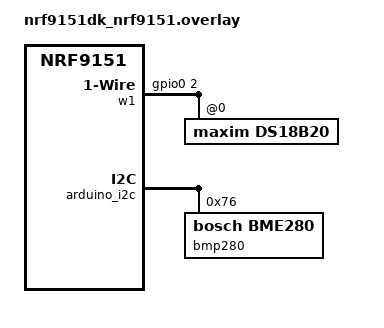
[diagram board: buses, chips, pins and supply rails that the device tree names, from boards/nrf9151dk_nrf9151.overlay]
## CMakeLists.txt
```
cmake_minimum_required(VERSION 3.20.0)
find_package(Zephyr REQUIRED HINTS $ENV{ZEPHYR_BASE})
project(lte_m_asset_tracker VERSION 0.2.0)

add_subdirectory(src/gnss)
add_subdirectory(src/sensors)
add_subdirectory(src/lte)
add_subdirectory(src/mqtt)
add_subdirectory(src/telemetry)

target_sources(app PRIVATE src/main.c)

target_include_directories(app PRIVATE src)
```

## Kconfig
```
mainmenu "LTE-M Asset Tracker"

config TRACKER_SENSOR_INTERVAL_SEC
	int "Sensor read and print interval in seconds (Phase 1)"
	default 10

config TRACKER_GNSS_TIMEOUT_SEC
	int "GNSS fix timeout in seconds"
	default 120

config TRACKER_INTERVAL_SEC
	int "Telemetry publish interval in seconds (Phase 2+)"
	default 60

config TRACKER_QUEUE_DEPTH
	int "Offline payload queue depth"
	default 10

config TRACKER_MQTT_BROKER_HOST
	string "MQTT broker hostname"
	default "baf437c2f1704a97b9f5533ab7241808.s1.eu.hivemq.cloud"

config TRACKER_MQTT_BROKER_PORT
	int "MQTT broker port"
	default 8883

config TRACKER_MQTT_USERNAME
	string "MQTT username"
	default ""

config TRACKER_MQTT_PASSWORD
	string "MQTT password"
	default ""

source "Kconfig.zephyr"
```

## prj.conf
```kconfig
# ===== General =====
CONFIG_FPU=y
CONFIG_PICOLIBC=y
CONFIG_PICOLIBC_IO_FLOAT=y
CONFIG_LOG=y
CONFIG_LOG_DEFAULT_LEVEL=3
CONFIG_STDOUT_CONSOLE=y
CONFIG_UART_CONSOLE=y
CONFIG_UART_INTERRUPT_DRIVEN=y

# ===== Modem =====
CONFIG_NRF_MODEM_LIB=y
CONFIG_LTE_LINK_CONTROL=y
CONFIG_LTE_NETWORK_MODE_LTE_M_NBIOT_GPS=y
CONFIG_LTE_LC_PSM_MODULE=y
CONFIG_LTE_LC_MODEM_SLEEP_MODULE=y

# ===== AT host for serial diagnostics (AT+CEREG?, AT%XMONITOR, etc.) =====
CONFIG_AT_HOST_LIBRARY=y

# ===== Networking / MQTT (Phase 2) =====
# nRF91xx: TLS is offloaded to the modem — do NOT enable native mbedtls stack.
CONFIG_NETWORKING=y
CONFIG_NET_NATIVE=n
CONFIG_NET_SOCKETS=y
CONFIG_NET_SOCKETS_OFFLOAD=y
CONFIG_MQTT_LIB=y
CONFIG_MQTT_LIB_TLS=y
CONFIG_MODEM_KEY_MGMT=y
CONFIG_MODEM_INFO=y

# ===== Sensors =====
CONFIG_SENSOR=y
CONFIG_W1=y
CONFIG_W1_ZEPHYR_GPIO=y
CONFIG_DS18B20=y
CONFIG_BME280=y

# ===== Stack / heap (increased for MQTT + TLS) =====
CONFIG_MAIN_STACK_SIZE=8192
CONFIG_SYSTEM_WORKQUEUE_STACK_SIZE=4096
CONFIG_HEAP_MEM_POOL_SIZE=16384
```

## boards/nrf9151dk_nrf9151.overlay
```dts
/*
 * nRF9151-DK overlay — LTE-M Asset Tracker
 *
 * Pin facts (verified against nrf9151dk_nrf9151_common-pinctrl.dtsi):
 *   UART0 (console): TX=P0.27, RX=P0.26  — do NOT use for I2C
 *   arduino_i2c = &i2c2: SDA=P0.30 (D14), SCL=P0.31 (D15)
 *   Arduino D2 = P0.02
 */

/* BMP280 on the Arduino I2C header (P0.30 SDA, P0.31 SCL) */
&arduino_i2c {
	bmp280: bme280@76 {
		compatible = "bosch,bme280";
		reg = <0x76>;
		status = "okay";
	};
};

/* DS18B20 1-Wire on P0.02 (Arduino D2)
 * External 4.7 kΩ pull-up to 3.3 V on the bus line.
 * GPIO_OPEN_DRAIN: nRF drives low to signal 0, releases to let pull-up drive high.
 */
/ {
	w1: w1 {
		compatible = "zephyr,w1-gpio";
		gpios = <&gpio0 2 (GPIO_ACTIVE_HIGH | GPIO_OPEN_DRAIN)>;
		#address-cells = <1>;
		#size-cells = <0>;

		ds18b20: ds18b20@0 {
			compatible = "maxim,ds18b20";
			family-code = <0x28>;
			resolution = <12>;
			reg = <0>;
			status = "okay";
		};
	};
};
```

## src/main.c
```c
#include <zephyr/kernel.h>
#include <zephyr/logging/log.h>
#include <modem/nrf_modem_lib.h>

#include "gnss/gnss_handler.h"
#include "sensors/bmp280.h"
#include "sensors/ds18b20.h"
#include "lte/lte_handler.h"
#include "mqtt/mqtt_client.h"
#include "mqtt/payload_queue.h"
#include "telemetry/payload_builder.h"

LOG_MODULE_REGISTER(main, CONFIG_LOG_DEFAULT_LEVEL);

static char imei[16];
static bool bmp_ok;
static bool ds_ok;

static void drain_and_publish(void)
{
	static char qbuf[PAYLOAD_MAX_LEN];

	while (!payload_queue_is_empty()) {
		if (payload_queue_dequeue(qbuf) == 0) {
			int err = tracker_mqtt_publish(qbuf, strlen(qbuf));

			if (err) {
				LOG_WRN("Queue drain publish failed: %d — re-enqueuing", err);
				payload_queue_enqueue(qbuf);
				break;
			}
		}
	}
}

static void telemetry_cycle(void)
{
	struct nrf_modem_gnss_pvt_data_frame pvt = {0};
	bool gnss_fix = gnss_handler_has_fix();
	char ts[32] = "";
	static char payload_buf[PAYLOAD_MAX_LEN];

	/* 1. Read latest GNSS fix from background periodic engine. */
	if (gnss_fix) {
		gnss_handler_get_pvt(&pvt);
		gnss_handler_get_timestamp(ts, sizeof(ts));
		LOG_INF("GNSS fix: lat=%.6f lon=%.6f alt=%.1f acc=%.1f m",
			pvt.latitude, pvt.longitude,
			(double)pvt.altitude, (double)pvt.accuracy);
	}

	/* 2. Read sensors. */
	double bmp_temp = 0.0, bmp_press = 0.0, ds_temp = 0.0;
	bool bmp_read = false, ds_read = false;

	if (bmp_ok) {
		bmp_read = (bmp280_sensor_read(&bmp_temp, &bmp_press) == 0);
		if (bmp_read) {
			LOG_INF("BMP280: %.2f hPa / %.2f C", bmp_press, bmp_temp);
		} else {
			LOG_WRN("BMP280 read error");
		}
	}
	if (ds_ok) {
		ds_read = (ds18b20_sensor_read(&ds_temp) == 0);
		if (ds_read) {
			LOG_INF("DS18B20: %.4f C", ds_temp);
		} else {
			LOG_WRN("DS18B20 read error");
		}
	}

	/* 3. Build JSON payload. */
	tracker_payload_t p = {
		.device_id        = imei,
		.ts               = ts,
		.gnss_fix         = gnss_fix,
		.lat              = gnss_fix ? pvt.latitude  : 0.0,
		.lon              = gnss_fix ? pvt.longitude : 0.0,
		.alt_m            = gnss_fix ? (double)pvt.altitude  : 0.0,
		.gnss_acc_m       = gnss_fix ? (double)pvt.accuracy  : 0.0,
		.ds18b20_valid    = ds_read,
		.ds18b20_temp_c   = ds_temp,
		.bmp280_valid     = bmp_read,
		.bmp280_temp_c    = bmp_temp,
		.bmp280_press_hpa = bmp_press,
	};

	int plen = payload_build(&p, payload_buf, sizeof(payload_buf));

	if (plen < 0) {
		LOG_ERR("payload_build failed: %d", plen);
		return;
	}

	/* 4. Connect MQTT and publish. */
	int err = tracker_mqtt_connect();

	if (err) {
		LOG_WRN("MQTT connect failed: %d — enqueuing payload", err);
		payload_queue_enqueue(payload_buf);
		return;
	}

	/* Drain any queued payloads first (FIFO order), then publish current. */
	if (!payload_queue_is_empty()) {
		LOG_INF("Draining %d queued payload(s)", payload_queue_count());
		drain_and_publish();
	}

	err = tracker_mqtt_publish(payload_buf, (size_t)plen);
	if (err) {
		LOG_WRN("Publish failed: %d — enqueuing", err);
		payload_queue_enqueue(payload_buf);
	}

	tracker_mqtt_disconnect();
}

int main(void)
{
	LOG_INF("LTE-M Asset Tracker — Phase 2 booting");

	int err = nrf_modem_lib_init();

	if (err) {
		LOG_ERR("Modem library init failed: %d", err);
		return err;
	}
	LOG_INF("Modem library ready");

	/* Initialise sensors before LTE (no modem dependency). */
	bmp_ok = (bmp280_sensor_init() == 0);
	ds_ok  = (ds18b20_sensor_init() == 0);

	/* Register GNSS event handler. */
	err = gnss_handler_init();
	if (err) {
		LOG_ERR("GNSS handler init failed: %d", err);
		return err;
	}

	/* Connect LTE-M. */
	err = lte_handler_init();
	if (err) {
		LOG_ERR("LTE handler init failed: %d", err);
		return err;
	}

	/* Retrieve IMEI for MQTT client ID and telemetry payload. */
	err = lte_handler_get_imei(imei, sizeof(imei));
	if (err) {
		LOG_ERR("IMEI read failed: %d", err);
		strncpy(imei, "000000000000000", sizeof(imei));
	}
	LOG_INF("IMEI: %s", imei);

	err = tracker_mqtt_init(imei);
	if (err) {
		LOG_ERR("MQTT init failed: %d", err);
		return err;
	}

	/* Start GNSS in periodic coexistence mode — runs alongside LTE. */
	err = gnss_handler_start();
	if (err) {
		LOG_ERR("GNSS start failed: %d", err);
		return err;
	}

	LOG_INF("Boot complete — starting %d-second telemetry loop",
		CONFIG_TRACKER_INTERVAL_SEC);

	while (true) {
		telemetry_cycle();
		k_sleep(K_SECONDS(CONFIG_TRACKER_INTERVAL_SEC));
	}

	return 0;
}
```
